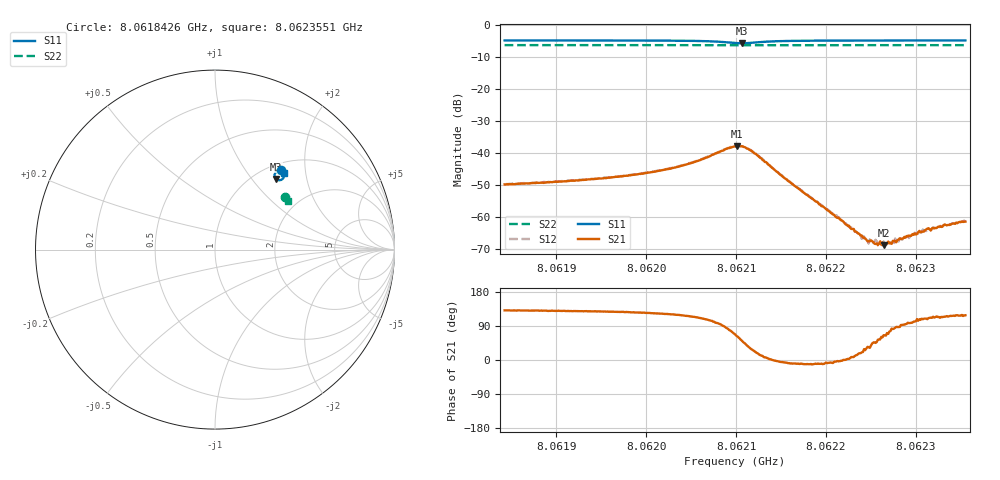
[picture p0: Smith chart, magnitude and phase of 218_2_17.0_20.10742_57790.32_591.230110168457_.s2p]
#  HZ  S  RI  R  50.00
! Rohde & Schwarz Vector Network Analyzer
! Rohde-Schwarz,ZNB20-2Port,1311601062101988,3.16
! Created: UTC 3/20/2024, 11:01:51 PM
! freq[Hz]  re:S11  im:S11  re:S21  im:S21  re:S12  im:S12  re:S22  im:S22
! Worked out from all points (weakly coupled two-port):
!   401 points, 8.0618426 GHz to 8.0623551 GHz, reference 50 ohm
!   highest |S21| = -37.86 dB at 8.0621014 GHz (marker M1); lowest = -69.0 dB at 8.0622641 GHz (marker M2)
!   lowest |S11| = -5.7 dB at 8.0621065 GHz (marker M3), VSWR 3.17, Z = 62 + j66.7 ohm
!   |S11| at or under -10 dB: nowhere
!   |S22| runs from -6.3 to -6.2 dB; largest |S21 - S12| = 0.00094
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8.06184258e9  0.3665 0.4443  -0.00211 0.00243  -0.00198 0.00255  0.3873 0.2951
8.06192843e9  0.3731 0.4382  -0.00237 0.00294  -0.00223 0.00309  0.3904 0.2908
8.06197072e9  0.3766 0.4342  -0.00257 0.00343  -0.00238 0.00358  0.3918 0.2887
8.06201428e9  0.3809 0.428  -0.00284 0.00442  -0.00261 0.00462  0.3933 0.2864
8.06205016e9  0.3846 0.4179  -0.00293 0.00632  -0.00258 0.00658  0.3945 0.2842
8.06207963e9  0.3808 0.3989  -0.00127 0.0101  -0.000646 0.0102  0.3949 0.282
8.06209885e9  0.3558 0.3866  0.00474 0.0117  0.00564 0.0115  0.3942 0.2811
8.06210141e9  0.3505 0.3876  0.00594 0.0113  0.00666 0.0111  0.3941 0.281
8.06210654e9  0.3409 0.3929  0.00807 0.00992  0.00856 0.00934  0.3939 0.2812
8.06212063e9  0.3324 0.4182  0.00908 0.00373  0.00943 0.00324  0.3944 0.2818
8.06215523e9  0.3551 0.4393  0.00392 -0.000472  0.00392 -0.000719  0.3968 0.2808
8.0621847e9  0.3658 0.4386  0.00189 -0.000392  0.00187 -0.000477  0.3982 0.2792
8.06221289e9  0.3718 0.4367  0.000961 -4.69e-05  0.000987 -0.000132  0.3995 0.2777
8.06224492e9  0.3763 0.4343  0.00038 0.000221  0.000405 0.000185  0.4004 0.2759
8.06225518e9  0.3773 0.4337  0.000265 0.000266  0.000323 0.000295  0.4007 0.2754
8.06226415e9  0.3785 0.433  0.000149 0.000324  0.000222 0.000347  0.4011 0.2751
8.06227055e9  0.379 0.4327  0.0001 0.000371  0.000108 0.000373  0.4013 0.2747
8.06229105e9  0.381 0.4313  -7.12e-05 0.000491  -5.69e-05 0.000506  0.402 0.2737
8.06230643e9  0.3825 0.4303  -0.000193 0.000558  -0.000158 0.000547  0.4026 0.2729
8.06231412e9  0.383 0.4299  -0.000236 0.000621  -0.000179 0.000598  0.4027 0.2726
8.06233462e9  0.3847 0.4286  -0.000321 0.000661  -0.000264 0.000719  0.4035 0.2714
8.06235512e9  0.3862 0.4274  -0.000397 0.000744  -0.000373 0.000736  0.4042 0.2704
